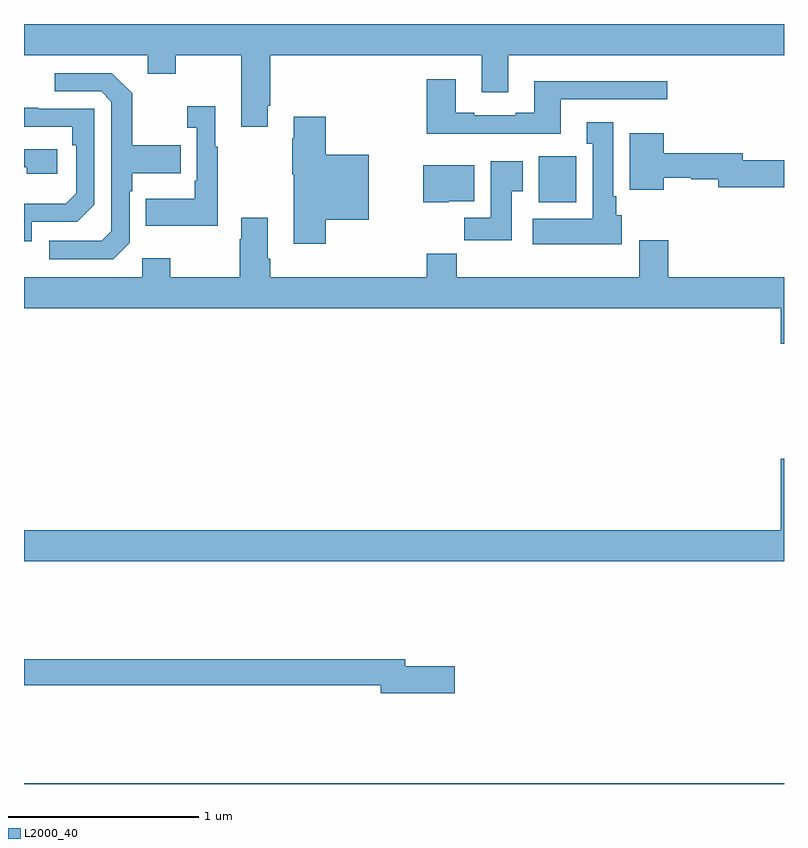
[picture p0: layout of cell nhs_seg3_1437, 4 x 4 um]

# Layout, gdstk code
import gdstk
lib = gdstk.Library(unit=1e-6, precision=1e-09)
def R(c, l, rs):  # rectangles x0, y0, x1, y1
    for r in rs: c.add(gdstk.rectangle(r[:2], r[2:], *l))
def P(c, l, *ps):  # polygons
    for p in ps: c.add(gdstk.Polygon(p, *l))
L2000_40 = (2000, 40)

nhs_seg3_1437 = lib.new_cell('nhs_seg3_1437')
R(nhs_seg3_1437, L2000_40, [(185,710.4,189,710.404), (187.709,713.462,187.906,713.704)])
P(nhs_seg3_1437, L2000_40, [(186.283,713.971),(186.296,713.971),(186.296,714.236),(187.409,714.236),(187.409,714.042),(187.549,714.042),(187.549,714.236),(189,714.236),(189,714.4),(185,714.4),(185,714.236),(185.651,714.236),(185.651,714.137),(185.799,714.137),(185.799,714.236),(186.143,714.236),(186.143,713.859),(186.283,713.859)],
  [(185.556,713.25),(185.556,713.519),(185.569,713.519),(185.569,713.615),(185.825,713.615),(185.825,713.763),(185.569,713.763),(185.569,714.035),(185.463,714.141),(185.163,714.141),(185.163,714.045),(185.406,714.045),(185.46,713.991),(185.46,713.31),(185.409,713.259),(185.133,713.259),(185.133,713.163),(185.469,713.163)],
  [(187.825,714.003),(188.386,714.003),(188.386,714.1),(187.685,714.1),(187.685,713.932),(187.589,713.932),(187.589,713.919),(187.369,713.919),(187.369,713.932),(187.273,713.932),(187.273,714.109),(187.121,714.109),(187.121,713.822),(187.825,713.822)],
  [(186.019,713.755),(186.007,713.755),(186.007,713.968),(185.859,713.968),(185.859,713.855),(185.91,713.855),(185.91,713.575),(185.898,713.575),(185.898,713.479),(185.641,713.479),(185.641,713.339),(186.019,713.339)],
  [(185.04,713.358),(185.28,713.358),(185.37,713.448),(185.37,713.955),(185.075,713.955),(185.075,713.96),(185,713.96),(185,713.859),(185.254,713.859),(185.254,713.762),(185.274,713.762),(185.274,713.508),(185.221,713.455),(185,713.455),(185,713.256),(185.04,713.256)],
  [(186.587,713.369),(186.814,713.369),(186.814,713.713),(186.587,713.713),(186.587,713.911),(186.419,713.911),(186.419,713.798),(186.412,713.798),(186.412,713.609),(186.419,713.609),(186.419,713.244),(186.587,713.244)],
  [(188.146,713.394),(188.116,713.394),(188.116,713.494),(188.101,713.494),(188.101,713.884),(187.961,713.884),(187.961,713.771),(187.994,713.771),(187.994,713.374),(187.677,713.374),(187.677,713.24),(188.146,713.24)],
  [(188.368,713.592),(188.511,713.592),(188.511,713.584),(188.654,713.584),(188.654,713.542),(189,713.542),(189,713.684),(188.782,713.684),(188.782,713.72),(188.368,713.72),(188.368,713.824),(188.189,713.824),(188.189,713.528),(188.368,713.528)],
  [(185.176,713.742),(185,713.742),(185,713.646),(185.015,713.646),(185.015,713.612),(185.176,713.612)],
  [(187.567,713.521),(187.624,713.521),(187.624,713.677),(187.457,713.677),(187.457,713.38),(187.318,713.38),(187.318,713.262),(187.567,713.262)],
  [(187.236,713.468),(187.369,713.468),(187.369,713.656),(187.1,713.656),(187.1,713.462),(187.236,713.462)],
  [(189,713.068),(188.39,713.068),(188.39,713.263),(188.237,713.263),(188.237,713.068),(187.277,713.068),(187.277,713.192),(187.121,713.192),(187.121,713.068),(186.296,713.068),(186.296,713.164),(186.283,713.164),(186.283,713.38),(186.143,713.38),(186.143,713.267),(186.136,713.267),(186.136,713.068),(185.769,713.068),(185.769,713.167),(185.622,713.167),(185.622,713.068),(185,713.068),(185,712.904),(188.984,712.904),(188.984,712.716),(189,712.716)],
  [(189,712.111),(188.984,712.111),(188.984,711.736),(185,711.736),(185,711.572),(189,711.572)],
  [(187.267,711.02),(187.006,711.02),(187.006,711.056),(185,711.056),(185,710.92),(186.878,710.92),(186.878,710.878),(187.267,710.878)])

lib.write_gds('nhs_seg3_1437.gds')
